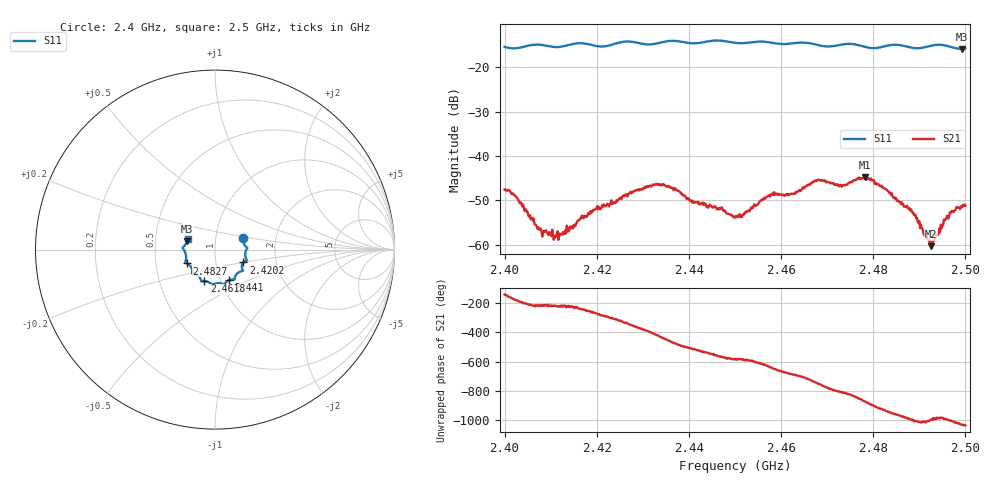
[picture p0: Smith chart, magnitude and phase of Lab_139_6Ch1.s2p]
# Hz S RI R 50
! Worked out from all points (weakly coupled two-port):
!   601 points, 2.4 GHz to 2.5 GHz, reference 50 ohm
!   highest |S21| = -44.74 dB at 2.4782 GHz (marker M1); lowest = -60.3 dB at 2.4925 GHz (marker M2)
!   lowest |S11| = -15.8 dB at 2.4992 GHz (marker M3), VSWR 1.39, Z = 36.5 + j3.66 ohm
!   |S11| at or under -10 dB: start of sweep to end of sweep
!   S12 and S22 are empty: the file has one direction only
!   S11 on the Smith chart (normalised r, x): 2.4 GHz: 1.36, +0.18; 2.4202 GHz: 1.36, -0.20; 2.441 GHz: 1.10, -0.39; 2.4618 GHz: 0.84, -0.30; 2.4827 GHz: 0.72, -0.12; 2.5 GHz: 0.73, +0.09
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2.4e9  0.1583 0.0626  -0.00336 -0.00252  0 0  0 0
2.402333e9  0.1607 0.0347  -0.00355 -2.5e-05  0 0  0 0
2.408167e9  0.179 0.00594  -0.000954 0.000786  0 0  0 0
2.412167e9  0.168 -0.03  -0.000985 0.000878  0 0  0 0
2.416667e9  0.1775 -0.0607  -0.000972 0.00184  0 0  0 0
2.420167e9  0.1584 -0.0715  0.000255 0.00272  0 0  0 0
2.433333e9  0.1119 -0.1509  0.00227 -0.00429  0 0  0 0
2.437333e9  0.1068 -0.1674  -0.00209 -0.00354  0 0  0 0
2.441e9  0.0784 -0.1699  -0.00271 -0.00125  0 0  0 0
2.45e9  0.0283 -0.1872  -0.00145 0.00141  0 0  0 0
2.458e9  -0.0249 -0.1882  0.000747 0.00358  0 0  0 0
2.461833e9  -0.0593 -0.1756  0.00293 0.00222  0 0  0 0
2.466667e9  -0.0786 -0.1682  0.0049 -0.000821  0 0  0 0
2.473667e9  -0.1237 -0.1347  -0.00021 -0.0047  0 0  0 0
2.478167e9  -0.1273 -0.1139  -0.00507 -0.0028  0 0  0 0
2.482667e9  -0.156 -0.0773  -0.00353 0.00242  0 0  0 0
2.483333e9  -0.1605 -0.0755  -0.00297 0.00262  0 0  0 0
2.488667e9  -0.1607 -0.0413  0.000452 0.00226  0 0  0 0
2.4925e9  -0.1758 0.00166  6.72e-05 0.000963  0 0  0 0
2.4965e9  -0.1713 0.0199  0.000312 0.00214  0 0  0 0
2.499167e9  -0.1545 0.0488  0.00171 0.00216  0 0  0 0
2.5e9  -0.1522 0.0608  0.00193 0.00198  0 0  0 0
